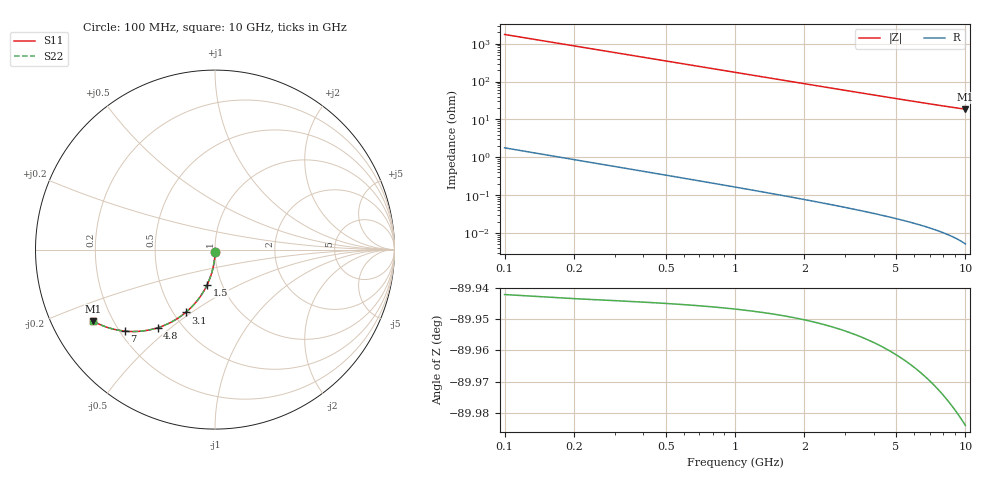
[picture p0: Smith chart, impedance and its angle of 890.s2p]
# Hz S RI R 50.00
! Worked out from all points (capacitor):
!   100 points, 100 MHz to 10 GHz, reference 50 ohm
!   read as one part in shunt: C = 906 fF near 100 MHz
!   lowest |Z| = 18.6 ohm at 10 GHz (marker M1)
!   S11 on the Smith chart (normalised r, x): 100 MHz: 1.00, -0.03; 1.5 GHz: 0.85, -0.35; 3.1 GHz: 0.58, -0.47; 4.8 GHz: 0.37, -0.45; 7 GHz: 0.22, -0.37; 10 GHz: 0.13, -0.27
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1e8  0.000342 -0.0136  0.9992 -0.0149  0.9992 -0.0149  0.000342 -0.0136
2e8  -0.000273 -0.0271  0.9986 -0.0297  0.9986 -0.0297  -0.000273 -0.0271
3e8  -0.00129 -0.0407  0.9976 -0.0445  0.9976 -0.0445  -0.00129 -0.0407
4e8  -0.00271 -0.0542  0.9961 -0.0593  0.9961 -0.0593  -0.00271 -0.0542
5e8  -0.00452 -0.0676  0.9943 -0.074  0.9943 -0.074  -0.00452 -0.0676
6e8  -0.00673 -0.0809  0.9921 -0.0886  0.9921 -0.0886  -0.00673 -0.0809
7e8  -0.00933 -0.0941  0.9895 -0.1031  0.9895 -0.1031  -0.00933 -0.0941
9e8  -0.0157 -0.1202  0.9831 -0.1317  0.9831 -0.1317  -0.0157 -0.1202
1.2e9  -0.0279 -0.1582  0.9709 -0.1736  0.9709 -0.1736  -0.0279 -0.1582
1.5e9  -0.0431 -0.1946  0.9555 -0.2137  0.9555 -0.2137  -0.0431 -0.1946
1.8e9  -0.0612 -0.2289  0.9374 -0.2519  0.9374 -0.2519  -0.0612 -0.2289
2.4e9  -0.1042 -0.2907  0.8941 -0.3214  0.8941 -0.3214  -0.1042 -0.2907
3.1e9  -0.163 -0.3499  0.835 -0.3896  0.835 -0.3896  -0.163 -0.3499
3.4e9  -0.19 -0.3709  0.8078 -0.4144  0.8078 -0.4144  -0.19 -0.3709
4.1e9  -0.255 -0.4097  0.7423 -0.4624  0.7423 -0.4624  -0.255 -0.4097
4.8e9  -0.3201 -0.4357  0.6767 -0.4974  0.6767 -0.4974  -0.3201 -0.4357
5.1e9  -0.3475 -0.4433  0.6491 -0.509  0.6491 -0.509  -0.3475 -0.4433
5.9e9  -0.4172 -0.4548  0.5786 -0.531  0.5786 -0.531  -0.4172 -0.4548
6.7e9  -0.4813 -0.4557  0.5136 -0.5425  0.5136 -0.5425  -0.4813 -0.4557
7e9  -0.5037 -0.454  0.4909 -0.5447  0.4909 -0.5447  -0.5037 -0.454
8.4e9  -0.5961 -0.4345  0.3965 -0.5441  0.3965 -0.5441  -0.5961 -0.4345
1e10  -0.6791 -0.3983  0.3108 -0.53  0.3108 -0.53  -0.6791 -0.3983
